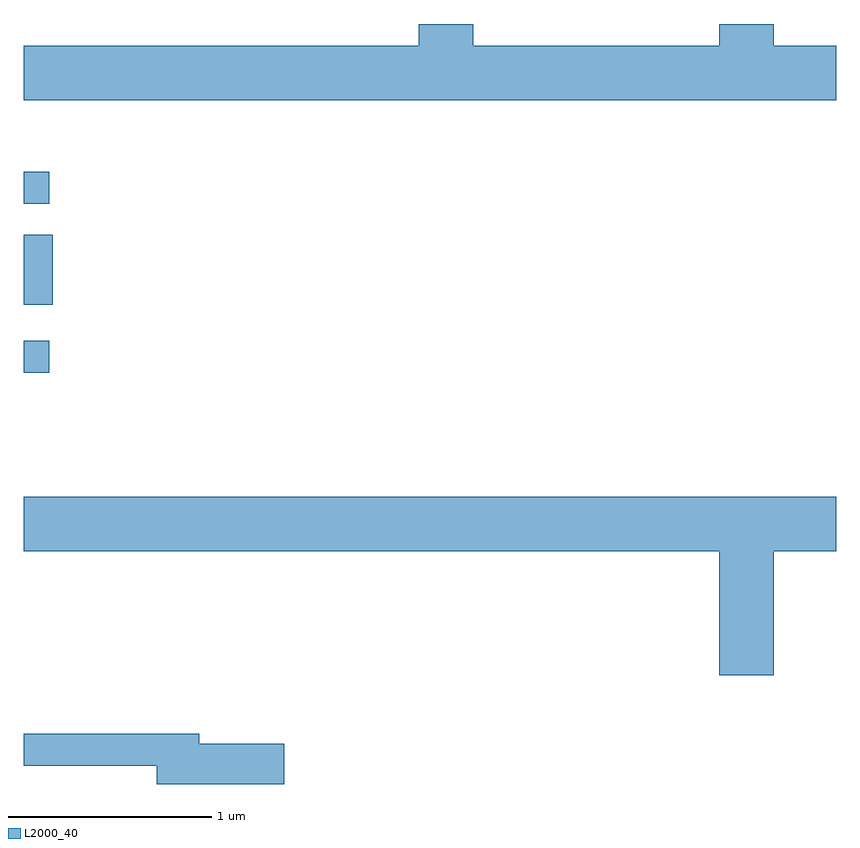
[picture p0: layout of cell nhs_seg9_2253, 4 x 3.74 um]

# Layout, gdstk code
import gdstk
lib = gdstk.Library(unit=1e-6, precision=1e-09)
def R(c, l, rs):  # rectangles x0, y0, x1, y1
    for r in rs: c.add(gdstk.rectangle(r[:2], r[2:], *l))
def P(c, l, *ps):  # polygons
    for p in ps: c.add(gdstk.Polygon(p, *l))
L2000_40 = (2000, 40)

nhs_seg9_2253 = lib.new_cell('nhs_seg9_2253')
R(nhs_seg9_2253, L2000_40, [(251.611,1972.716,251.738,1972.874), (251.611,1973.051,251.754,1973.394), (251.611,1973.546,251.738,1973.704)])
P(nhs_seg9_2253, L2000_40, [(255.611,1974.324),(255.304,1974.324),(255.304,1974.432),(255.036,1974.432),(255.036,1974.324),(253.824,1974.324),(253.824,1974.432),(253.556,1974.432),(253.556,1974.324),(251.611,1974.324),(251.611,1974.056),(255.611,1974.056)],
  [(255.304,1971.836),(255.611,1971.836),(255.611,1972.104),(251.611,1972.104),(251.611,1971.836),(255.036,1971.836),(255.036,1971.226),(255.304,1971.226)],
  [(252.894,1970.889),(252.474,1970.889),(252.474,1970.939),(251.611,1970.939),(251.611,1970.781),(252.266,1970.781),(252.266,1970.691),(252.894,1970.691)])

lib.write_gds('nhs_seg9_2253.gds')
